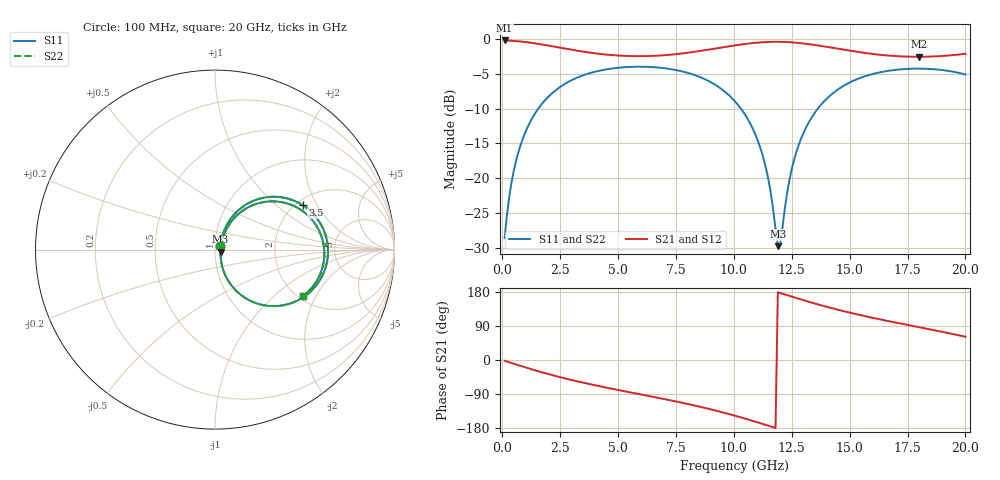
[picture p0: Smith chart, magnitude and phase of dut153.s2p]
! Touchstone file exported from HFSS 2026.1.0
!  File:  C:/ffzhzh/LocalFiles/Ansys_Project_Files/temp_train_TSV_RDL_153_1783052330_46780.aedt
!  Generated:  12:39:33 PM Jul  3, 2026
!  Design:  TSV_RDL
!  Project:  temp_train_TSV_RDL_153_1783052330_46780
! Variables:
!  h_bsmrdl = 4.89um
!  h_ox = 20um
!  h_rdl = 5um
!  h_sub = 88.53um
!  h_tmrdl = 5.1um
!  h_tsv = 88.53um
!  h_via = 3um
!  l_bsmrdl = 260.36um
!  l_sub = 5143.17um
!  l_tmrdl = 963.11um
!  m_sub = 200um
!  pitch = 57.97um
!  r_tsv = 2.15um
!  s_tmrdl = 10um
!  w_bsmrdl = 13.31um
!  w_sub = 500um
!  w_tmrdl = 23.24um
!  x_tsv_center1 = 974.73um
!  x_tsv_center2 = 1248.4um
!  x_tsv_center3 = 2234.75um
!  x_tsv_center4 = 2508.42um
!  x_tsv_center5 = 3494.77um
!  x_tsv_center6 = 3768.44um
# GHz S MA R 50.000000
! Terminal data exported
! Port[1] = TM_RDL1_1_T1
! Port[2] = TM_RDL5_1_T1
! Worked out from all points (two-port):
!   200 points, 100 MHz to 20 GHz, reference 50 ohm
!   highest |S21| = -0.26 dB at 100 MHz (marker M1); lowest = -2.6 dB at 18 GHz (marker M2)
!   |S21| within 3 dB of the highest: start of sweep to end of sweep
!   lowest |S11| = -29.7 dB at 11.9 GHz (marker M3), VSWR 1.07, Z = 53.2 - j1.18 ohm
!   |S11| at or under -10 dB: start of sweep to 1.56 GHz; 10.3 GHz to 13.63 GHz (3.33 GHz wide, 27.8 % of centre)
!   |S22| runs from -29.7 to -4.0 dB; largest |S21 - S12| = 1.6e-14
!   S11 on the Smith chart (normalised r, x): 100 MHz: 1.06, +0.05; 3.5 GHz: 2.16, +1.53; 20 GHz: 2.12, -1.58
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0.1  0.03749 35.8  0.9701 -2.0  0.9701 -2.0  0.03749 35.8
! Gamma 0 0 0 0
! Port Impedance 50 0 50 0
0.3  0.07386 59.3  0.9669 -6.0  0.9669 -6.0  0.07386 59.3
0.5  0.1143 64.1  0.9626 -9.9  0.9626 -9.9  0.1143 64.1
1.1  0.2339 60.8  0.9408 -21.4  0.9408 -21.4  0.2339 60.8
2.1  0.3996 46.5  0.8851 -39.0  0.8851 -39.0  0.3996 46.5
3.5  0.5471 27.0  0.8065 -59.9  0.8065 -59.9  0.5471 27.0
5.1  0.6211 7.6  0.7551 -80.3  0.7551 -80.3  0.6211 7.6
6.8  0.6194 -11.9  0.757 -100.7  0.757 -100.7  0.6194 -11.9
8.7  0.5169 -35.4  0.8235 -125.7  0.8235 -125.7  0.5169 -35.4
10.1  0.3481 -55.2  0.8975 -147.9  0.8975 -147.9  0.3481 -55.2
10.7  0.2481 -63.5  0.9249 -158.5  0.9249 -158.5  0.2481 -63.5
11.2  0.1547 -68.1  0.941 -167.9  0.941 -167.9  0.1547 -68.1
11.6  0.07774 -63.4  0.9477 -175.5  0.9477 -175.5  0.07776 -63.4
11.9  0.03277 -19.8  0.9487 178.7  0.9487 178.7  0.03286 -19.8
12  0.03321 14.6  0.9482 176.8  0.9482 176.8  0.0333 14.5
12.3  0.0787 56.2  0.9444 171.0  0.9444 171.0  0.07874 56.2
12.6  0.1356 60.8  0.9372 165.3  0.9372 165.3  0.1356 60.7
13.4  0.2793 53.5  0.9051 150.7  0.9051 150.7  0.2793 53.5
14.8  0.4658 34.1  0.8303 128.0  0.8303 128.0  0.4658 34.1
16.7  0.5895 10.4  0.756 102.3  0.756 102.3  0.5895 10.3
18  0.6102 -4.5  0.7413 86.5  0.7413 86.5  0.6102 -4.5
20  0.5538 -27.8  0.779 61.4  0.779 61.4  0.5538 -27.8
